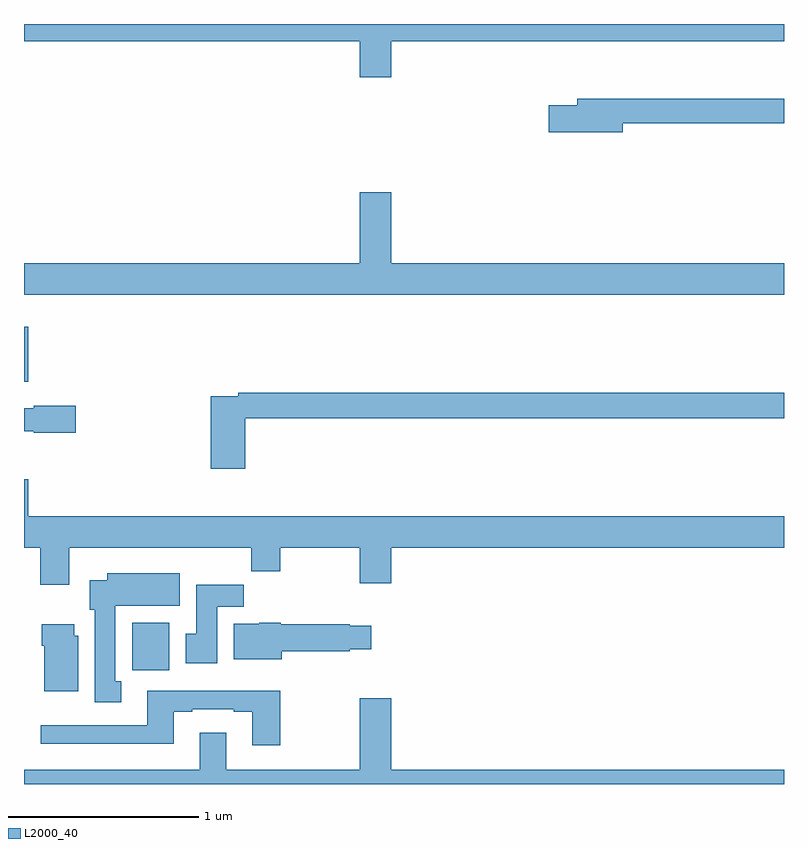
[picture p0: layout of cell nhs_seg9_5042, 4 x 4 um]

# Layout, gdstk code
import gdstk
lib = gdstk.Library(unit=1e-6, precision=1e-09)
def R(c, l, rs):  # rectangles x0, y0, x1, y1
    for r in rs: c.add(gdstk.rectangle(r[:2], r[2:], *l))
def P(c, l, *ps):  # polygons
    for p in ps: c.add(gdstk.Polygon(p, *l))
L2000_40 = (2000, 40)

nhs_seg9_5042 = lib.new_cell('nhs_seg9_5042')
R(nhs_seg9_5042, L2000_40, [(403.569,1205.1,403.765,1205.35), (403,1206.617,403.022,1206.907)])
P(nhs_seg9_5042, L2000_40, [(404.932,1208.408),(407,1208.408),(407,1208.5),(403,1208.5),(403,1208.408),(404.768,1208.408),(404.768,1208.22),(404.932,1208.22)],
  [(406.15,1207.978),(407,1207.978),(407,1208.107),(405.911,1208.107),(405.911,1208.073),(405.762,1208.073),(405.762,1207.931),(406.15,1207.931)],
  [(407,1207.24),(404.932,1207.24),(404.932,1207.615),(404.768,1207.615),(404.768,1207.24),(403,1207.24),(403,1207.076),(407,1207.076)],
  [(404.165,1206.424),(407,1206.424),(407,1206.56),(404.128,1206.56),(404.128,1206.54),(403.982,1206.54),(403.982,1206.159),(404.165,1206.159)],
  [(403.273,1206.491),(403.05,1206.491),(403.05,1206.478),(403,1206.478),(403,1206.356),(403.05,1206.356),(403.05,1206.349),(403.273,1206.349)],
  [(403.022,1206.103),(403,1206.103),(403,1205.744),(403.085,1205.744),(403.085,1205.55),(403.237,1205.55),(403.237,1205.744),(404.197,1205.744),(404.197,1205.62),(404.349,1205.62),(404.349,1205.744),(404.768,1205.744),(404.768,1205.556),(404.932,1205.556),(404.932,1205.744),(407,1205.744),(407,1205.908),(403.022,1205.908)],
  [(403.513,1205.041),(403.48,1205.041),(403.48,1205.438),(403.819,1205.438),(403.819,1205.608),(403.439,1205.608),(403.439,1205.572),(403.346,1205.572),(403.346,1205.418),(403.373,1205.418),(403.373,1204.929),(403.513,1204.929)],
  [(404.017,1205.432),(404.156,1205.432),(404.156,1205.55),(403.907,1205.55),(403.907,1205.292),(403.85,1205.292),(403.85,1205.136),(404.017,1205.136)],
  [(404.356,1205.198),(404.714,1205.198),(404.714,1205.21),(404.827,1205.21),(404.827,1205.332),(404.714,1205.332),(404.714,1205.34),(404.352,1205.34),(404.352,1205.35),(404.238,1205.35),(404.238,1205.344),(404.105,1205.344),(404.105,1205.156),(404.356,1205.156)],
  [(403.285,1205.28),(403.264,1205.28),(403.264,1205.341),(403.094,1205.341),(403.094,1205.228),(403.106,1205.228),(403.106,1204.988),(403.285,1204.988)],
  [(404.349,1204.99),(403.649,1204.99),(403.649,1204.809),(403.089,1204.809),(403.089,1204.712),(403.789,1204.712),(403.789,1204.881),(403.885,1204.881),(403.885,1204.893),(404.105,1204.893),(404.105,1204.881),(404.201,1204.881),(404.201,1204.704),(404.349,1204.704)],
  [(404.932,1204.951),(404.768,1204.951),(404.768,1204.576),(404.065,1204.576),(404.065,1204.771),(403.925,1204.771),(403.925,1204.576),(403,1204.576),(403,1204.5),(407,1204.5),(407,1204.576),(404.932,1204.576)])

lib.write_gds('nhs_seg9_5042.gds')
